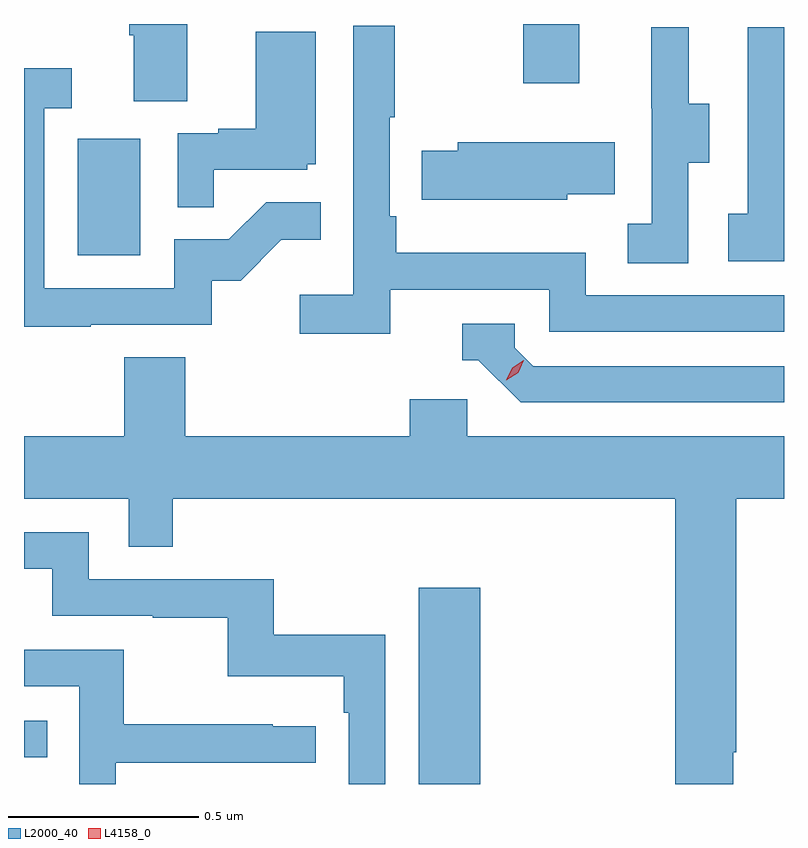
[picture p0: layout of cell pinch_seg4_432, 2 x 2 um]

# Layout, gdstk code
import gdstk
lib = gdstk.Library(unit=1e-6, precision=1e-09)
def R(c, l, rs):  # rectangles x0, y0, x1, y1
    for r in rs: c.add(gdstk.rectangle(r[:2], r[2:], *l))
def P(c, l, *ps):  # polygons
    for p in ps: c.add(gdstk.Polygon(p, *l))
L2000_40 = (2000, 40)
L4158_0 = (4158, 0)

pinch_seg4_432 = lib.new_cell('pinch_seg4_432')
R(pinch_seg4_432, L2000_40, [(933.671,777.421,933.832,777.937), (932.632,777.492,932.693,777.588), (932.774,778.812,932.938,779.119), (933.946,779.265,934.093,779.421)])
P(pinch_seg4_432, L2000_40, [(933.061,779.421),(932.909,779.421),(932.909,779.392),(932.921,779.392),(932.921,779.218),(933.061,779.218)],
  [(933.596,778.722),(934.014,778.722),(934.014,778.611),(934.632,778.611),(934.632,778.707),(934.11,778.707),(934.11,778.819),(933.611,778.819),(933.611,778.915),(933.594,778.915),(933.594,779.176),(933.607,779.176),(933.607,779.416),(933.498,779.416),(933.498,778.708),(933.357,778.708),(933.357,778.606),(933.596,778.606)],
  [(934.632,779.413),(934.536,779.413),(934.536,778.922),(934.485,778.922),(934.485,778.797),(934.632,778.797)],
  [(934.38,779.056),(934.435,779.056),(934.435,779.211),(934.381,779.211),(934.381,779.413),(934.283,779.413),(934.283,779.199),(934.284,779.199),(934.284,778.895),(934.221,778.895),(934.221,778.792),(934.38,778.792)],
  [(933.131,779.037),(933.378,779.037),(933.378,779.052),(933.4,779.052),(933.4,779.401),(933.242,779.401),(933.242,779.146),(933.143,779.146),(933.143,779.133),(933.036,779.133),(933.036,778.939),(933.131,778.939)],
  [(932.807,778.629),(933.126,778.629),(933.126,778.746),(933.202,778.746),(933.309,778.853),(933.413,778.853),(933.413,778.952),(933.269,778.952),(933.171,778.854),(933.027,778.854),(933.027,778.725),(932.685,778.725),(932.685,779.199),(932.758,779.199),(932.758,779.305),(932.632,779.305),(932.632,778.624),(932.807,778.624)],
  [(934.062,778.973),(934.187,778.973),(934.187,779.11),(933.773,779.11),(933.773,779.088),(933.679,779.088),(933.679,778.959),(933.79,778.959),(933.79,778.958),(934.062,778.958)],
  [(934.632,778.521),(933.972,778.521),(933.924,778.569),(933.924,778.632),(933.785,778.632),(933.785,778.536),(933.828,778.536),(933.939,778.425),(934.632,778.425)],
  [(934.499,777.505),(934.506,777.505),(934.506,778.172),(934.632,778.172),(934.632,778.336),(933.798,778.336),(933.798,778.434),(933.647,778.434),(933.647,778.336),(933.056,778.336),(933.056,778.544),(932.896,778.544),(932.896,778.336),(932.632,778.336),(932.632,778.172),(932.907,778.172),(932.907,778.045),(933.023,778.045),(933.023,778.172),(934.346,778.172),(934.346,777.421),(934.499,777.421)],
  [(933.582,777.814),(933.289,777.814),(933.289,777.96),(932.802,777.96),(932.802,778.083),(932.632,778.083),(932.632,777.987),(932.706,777.987),(932.706,777.864),(932.971,777.864),(932.971,777.859),(933.168,777.859),(933.168,777.704),(933.473,777.704),(933.473,777.608),(933.486,777.608),(933.486,777.421),(933.582,777.421)],
  [(932.874,777.477),(933.4,777.477),(933.4,777.573),(933.287,777.573),(933.287,777.578),(932.894,777.578),(932.894,777.774),(932.632,777.774),(932.632,777.678),(932.778,777.678),(932.778,777.421),(932.874,777.421)])
P(pinch_seg4_432, L4158_0, [(933.901,778.483),(933.901,778.483),(933.917,778.516),(933.947,778.536),(933.947,778.536),(933.947,778.536),(933.932,778.503),(933.901,778.483)])

lib.write_gds('pinch_seg4_432.gds')
